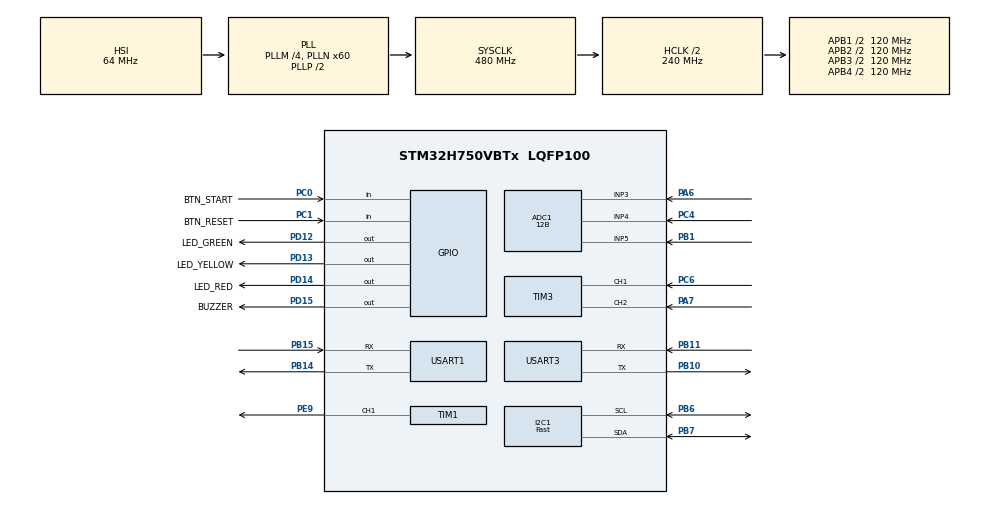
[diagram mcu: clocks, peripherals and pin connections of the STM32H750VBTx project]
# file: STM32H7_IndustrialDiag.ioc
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ADC1.Channel-0\#ChannelRegularConversion=ADC_CHANNEL_3
ADC1.ContinuousConvMode=ENABLE
ADC1.NbrOfConversionFlag=1
ADC1.OffsetNumber-0\#ChannelRegularConversion=ADC_OFFSET_NONE
ADC1.OffsetSignedSaturation-0\#ChannelRegularConversion=DISABLE
ADC1.Rank-0\#ChannelRegularConversion=1
ADC1.Resolution=ADC_RESOLUTION_12B
ADC1.SamplingTime-0\#ChannelRegularConversion=ADC_SAMPLETIME_1CYCLE_5
ADC1.master=1
CORTEX_M7.default_mode_Activation=1
Dma.ADC1.0.Direction=DMA_PERIPH_TO_MEMORY
Dma.ADC1.0.EventEnable=DISABLE
Dma.ADC1.0.FIFOMode=DMA_FIFOMODE_DISABLE
Dma.ADC1.0.Instance=DMA1_Stream0
Dma.ADC1.0.MemDataAlignment=DMA_MDATAALIGN_WORD
Dma.ADC1.0.MemInc=DMA_MINC_ENABLE
Dma.ADC1.0.Mode=DMA_CIRCULAR
Dma.ADC1.0.PeriphDataAlignment=DMA_PDATAALIGN_WORD
Dma.ADC1.0.PeriphInc=DMA_PINC_DISABLE
Dma.ADC1.0.Polarity=HAL_DMAMUX_REQ_GEN_RISING
Dma.ADC1.0.Priority=DMA_PRIORITY_LOW
Dma.ADC1.0.RequestNumber=1
Dma.ADC1.0.SignalID=NONE
Dma.ADC1.0.SyncEnable=DISABLE
Dma.ADC1.0.SyncPolarity=HAL_DMAMUX_SYNC_NO_EVENT
Dma.ADC1.0.SyncRequestNumber=1
Dma.ADC1.0.SyncSignalID=NONE
Dma.Request0=ADC1
Dma.Request1=USART1_TX
Dma.Request2=USART1_RX
Dma.USART1_RX.2.Direction=DMA_PERIPH_TO_MEMORY
Dma.USART1_RX.2.EventEnable=DISABLE
Dma.USART1_RX.2.FIFOMode=DMA_FIFOMODE_DISABLE
Dma.USART1_RX.2.Instance=DMA1_Stream2
Dma.USART1_RX.2.MemDataAlignment=DMA_MDATAALIGN_BYTE
Dma.USART1_RX.2.MemInc=DMA_MINC_ENABLE
Dma.USART1_RX.2.Mode=DMA_CIRCULAR
Dma.USART1_RX.2.PeriphDataAlignment=DMA_PDATAALIGN_BYTE
Dma.USART1_RX.2.PeriphInc=DMA_PINC_DISABLE
Dma.USART1_RX.2.Polarity=HAL_DMAMUX_REQ_GEN_RISING
Dma.USART1_RX.2.Priority=DMA_PRIORITY_LOW
Dma.USART1_RX.2.RequestNumber=1
Dma.USART1_RX.2.SignalID=NONE
Dma.USART1_RX.2.SyncEnable=DISABLE
Dma.USART1_RX.2.SyncPolarity=HAL_DMAMUX_SYNC_NO_EVENT
Dma.USART1_RX.2.SyncRequestNumber=1
Dma.USART1_RX.2.SyncSignalID=NONE
Dma.USART1_TX.1.Direction=DMA_MEMORY_TO_PERIPH
Dma.USART1_TX.1.EventEnable=DISABLE
Dma.USART1_TX.1.FIFOMode=DMA_FIFOMODE_DISABLE
Dma.USART1_TX.1.Instance=DMA1_Stream1
Dma.USART1_TX.1.MemDataAlignment=DMA_MDATAALIGN_BYTE
Dma.USART1_TX.1.MemInc=DMA_MINC_ENABLE
Dma.USART1_TX.1.Mode=DMA_NORMAL
Dma.USART1_TX.1.PeriphDataAlignment=DMA_PDATAALIGN_BYTE
Dma.USART1_TX.1.PeriphInc=DMA_PINC_DISABLE
Dma.USART1_TX.1.Polarity=HAL_DMAMUX_REQ_GEN_RISING
Dma.USART1_TX.1.Priority=DMA_PRIORITY_LOW
Dma.USART1_TX.1.RequestNumber=1
Dma.USART1_TX.1.SignalID=NONE
Dma.USART1_TX.1.SyncEnable=DISABLE
Dma.USART1_TX.1.SyncPolarity=HAL_DMAMUX_SYNC_NO_EVENT
Dma.USART1_TX.1.SyncRequestNumber=1
Dma.USART1_TX.1.SyncSignalID=NONE
FREERTOS.Tasks01=defaultTask,24,128,StartDefaultTask,Default,NULL,Dynamic,NULL,NULL
FREERTOS.configTOTAL_HEAP_SIZE=32768
I2C1.I2C_Speed_Mode=I2C_Fast
I2C1.Timing=0x00B03FDB
Mcu.Family=STM32H7
Mcu.Name=STM32H750VBTx
Mcu.Package=LQFP100
NVIC.DMA1_Stream0_IRQn=true\:5\:0\:false\:false\:true\:true\:false\:true\:true
NVIC.DMA1_Stream1_IRQn=true\:5\:0\:false\:false\:true\:true\:false\:true\:true
NVIC.DMA1_Stream2_IRQn=true\:5\:0\:false\:false\:true\:true\:false\:true\:true
NVIC.PriorityGroup=NVIC_PRIORITYGROUP_4
NVIC.USART1_IRQn=true\:5\:0\:false\:false\:true\:true\:false\:true\:true
PA6.Signal=ADCx_INP3
PA7.Signal=S_TIM3_CH2
PB1.Signal=ADCx_INP5
PB10.Mode=Asynchronous
PB10.Signal=USART3_TX
PB11.Mode=Asynchronous
PB11.Signal=USART3_RX
PB14.Mode=Asynchronous
PB14.Signal=USART1_TX
PB15.Mode=Asynchronous
PB15.Signal=USART1_RX
PB6.Mode=I2C
PB6.Signal=I2C1_SCL
PB7.Mode=I2C
PB7.Signal=I2C1_SDA
PC0.GPIO_Label=BTN_START
PC0.GPIO_PuPd=GPIO_PULLUP
PC0.Signal=GPIO_Input
PC1.GPIO_Label=BTN_RESET
PC1.GPIO_PuPd=GPIO_PULLUP
PC1.Signal=GPIO_Input
PC4.Signal=ADCx_INP4
PC6.Signal=S_TIM3_CH1
PD12.GPIO_Label=LED_GREEN
PD12.Signal=GPIO_Output
PD13.GPIO_Label=LED_YELLOW
PD13.Signal=GPIO_Output
PD14.GPIO_Label=LED_RED
PD14.Signal=GPIO_Output
PD15.GPIO_Label=BUZZER
PD15.Signal=GPIO_Output
PE9.Signal=S_TIM1_CH1
PH0-OSC_IN\ (PH0).Mode=HSE-External-Oscillator
PH0-OSC_IN\ (PH0).Signal=RCC_OSC_IN
PH1-OSC_OUT\ (PH1).Mode=HSE-External-Oscillator
PH1-OSC_OUT\ (PH1).Signal=RCC_OSC_OUT
ProjectManager.HeapSize=0x200
ProjectManager.StackSize=0x400
ProjectManager.TargetToolchain=STM32CubeIDE
RCC.ADCFreq_Value=129000000
RCC.APB1Freq_Value=120000000
RCC.APB2Freq_Value=120000000
RCC.APB3Freq_Value=120000000
RCC.APB4Freq_Value=120000000
RCC.CortexFreq_Value=480000000
RCC.D1PPRE=RCC_APB3_DIV2
RCC.D2PPRE1=RCC_APB1_DIV2
RCC.D2PPRE2=RCC_APB2_DIV2
RCC.D3PPRE=RCC_APB4_DIV2
RCC.DIVM1=4
RCC.DIVN1=60
RCC.HCLKFreq_Value=240000000
RCC.HPRE=RCC_HCLK_DIV2
RCC.HSE_VALUE=25000000
RCC.PLL2FRACN=0
RCC.PLL3FRACN=0
RCC.PLLFRACN=0
RCC.SYSCLKFreq_VALUE=480000000
RCC.SYSCLKSource=RCC_SYSCLKSOURCE_PLLCLK
RCC.USBFreq_Value=480000000
SH.ADCx_INP3.0=ADC1_INP3,IN3-Single-Ended
SH.ADCx_INP4.0=ADC1_INP4,IN4-Single-Ended
SH.ADCx_INP5.0=ADC1_INP5,IN5-Single-Ended
SH.S_TIM1_CH1.0=TIM1_CH1,PWM Generation1 CH1
SH.S_TIM3_CH1.0=TIM3_CH1,Encoder_Interface
SH.S_TIM3_CH2.0=TIM3_CH2,Encoder_Interface
TIM1.Channel-PWM\ Generation1\ CH1=TIM_CHANNEL_1
TIM1.Period=999
TIM1.Prescaler=479
TIM3.EncoderMode=TIM_ENCODERMODE_TI12
USART1.VirtualMode-Asynchronous=VM_ASYNC
USART3.VirtualMode-Asynchronous=VM_ASYNC
VP_FREERTOS_VS_CMSIS_V2.Mode=CMSIS_V2
VP_MEMORYMAP_VS_MEMORYMAP.Mode=CurAppReg
VP_TIM1_VS_ClockSourceINT.Mode=Internal
board=custom

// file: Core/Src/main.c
/* USER CODE BEGIN Header */
/**
  ******************************************************************************
  * @file           : main.c
  * @brief          : Main program body
  ******************************************************************************
  * @attention
  *
  * Copyright (c) 2026 STMicroelectronics.
  * All rights reserved.
  *
  * This software is licensed under terms that can be found in the LICENSE file
  * in the root directory of this software component.
  * If no LICENSE file comes with this software, it is provided AS-IS.
  *
  ******************************************************************************
  */
/* USER CODE END Header */
#include "main.h"
#include "cmsis_os.h"
#include "adc.h"
#include "dma.h"
#include "i2c.h"
#include "tim.h"
#include "usart.h"
#include "gpio.h"

/* USER CODE BEGIN Includes */
#include "drv_hal/dma_driver.h"
#include "drv_hal/adc_driver.h"
#include "drv_hal/i2c_driver.h"
#include "drv_hal/tim_driver.h"
#include "drv_hal/usart_driver.h"
/* USER CODE END Includes */

void SystemClock_Config(void);
static void MPU_Config(void);
void MX_FREERTOS_Init(void);

int main(void)
{

  /* MPU Configuration--------------------------------------------------------*/
  MPU_Config();

  /* MCU Configuration--------------------------------------------------------*/

  /* Reset of all peripherals, Initializes the Flash interface and the Systick. */
  HAL_Init();

  /* Configure the system clock */
  SystemClock_Config();

  /* Initialize all configured peripherals */
  MX_GPIO_Init();
  MX_DMA_Init();
  MX_ADC1_Init();
  MX_I2C1_Init();
  MX_TIM1_Init();
  MX_TIM3_Init();
  MX_USART1_UART_Init();
  MX_USART3_UART_Init();
  /* USER CODE BEGIN 2 */
  DMA_Manager_Init();
  ADC_Driver_Init();
  I2C_Driver_Init();
  TIM_Manager_Init();
  USART_Drivers_Init();
  /* USER CODE END 2 */

  /* Init scheduler */
  osKernelInitialize();  /* Call init function for freertos objects (in cmsis_os2.c) */
  MX_FREERTOS_Init();

  /* Start scheduler */
  osKernelStart();

  /* We should never get here as control is now taken by the scheduler */

  /* Infinite loop */
  while (1)
  {

  }
}

void SystemClock_Config(void)
{
  RCC_OscInitTypeDef RCC_OscInitStruct = {0};
  RCC_ClkInitTypeDef RCC_ClkInitStruct = {0};

  /** Supply configuration update enable
  */
  HAL_PWREx_ConfigSupply(PWR_LDO_SUPPLY);

  /** Configure the main internal regulator output voltage
  */
  __HAL_PWR_VOLTAGESCALING_CONFIG(PWR_REGULATOR_VOLTAGE_SCALE0);

  while(!__HAL_PWR_GET_FLAG(PWR_FLAG_VOSRDY)) {}

  /** Initializes the RCC Oscillators according to the specified parameters
  * in the RCC_OscInitTypeDef structure.
  */
  RCC_OscInitStruct.OscillatorType = RCC_OSCILLATORTYPE_HSI;
  RCC_OscInitStruct.HSIState = RCC_HSI_DIV1;
  RCC_OscInitStruct.HSICalibrationValue = RCC_HSICALIBRATION_DEFAULT;
  RCC_OscInitStruct.PLL.PLLState = RCC_PLL_ON;
  RCC_OscInitStruct.PLL.PLLSource = RCC_PLLSOURCE_HSI;
  RCC_OscInitStruct.PLL.PLLM = 4;
  RCC_OscInitStruct.PLL.PLLN = 60;
  RCC_OscInitStruct.PLL.PLLP = 2;
  RCC_OscInitStruct.PLL.PLLQ = 2;
  RCC_OscInitStruct.PLL.PLLR = 2;
  RCC_OscInitStruct.PLL.PLLRGE = RCC_PLL1VCIRANGE_3;
  RCC_OscInitStruct.PLL.PLLVCOSEL = RCC_PLL1VCOWIDE;
  RCC_OscInitStruct.PLL.PLLFRACN = 0;
  if (HAL_RCC_OscConfig(&RCC_OscInitStruct) != HAL_OK)
  {
    Error_Handler();
  }

  /** Initializes the CPU, AHB and APB buses clocks
  */
  RCC_ClkInitStruct.ClockType = RCC_CLOCKTYPE_HCLK|RCC_CLOCKTYPE_SYSCLK
                              |RCC_CLOCKTYPE_PCLK1|RCC_CLOCKTYPE_PCLK2
                              |RCC_CLOCKTYPE_D3PCLK1|RCC_CLOCKTYPE_D1PCLK1;
  RCC_ClkInitStruct.SYSCLKSource = RCC_SYSCLKSOURCE_PLLCLK;
  RCC_ClkInitStruct.SYSCLKDivider = RCC_SYSCLK_DIV1;
  RCC_ClkInitStruct.AHBCLKDivider = RCC_HCLK_DIV2;
  RCC_ClkInitStruct.APB3CLKDivider = RCC_APB3_DIV2;
  RCC_ClkInitStruct.APB1CLKDivider = RCC_APB1_DIV2;
  RCC_ClkInitStruct.APB2CLKDivider = RCC_APB2_DIV2;
  RCC_ClkInitStruct.APB4CLKDivider = RCC_APB4_DIV2;

  if (HAL_RCC_ClockConfig(&RCC_ClkInitStruct, FLASH_LATENCY_4) != HAL_OK)
  {
    Error_Handler();
  }
}

 /* MPU Configuration */

void MPU_Config(void)
{
  MPU_Region_InitTypeDef MPU_InitStruct = {0};

  /* Disables the MPU */
  HAL_MPU_Disable();

  /** Initializes and configures the Region and the memory to be protected
  */
  MPU_InitStruct.Enable = MPU_REGION_ENABLE;
  MPU_InitStruct.Number = MPU_REGION_NUMBER0;
  MPU_InitStruct.BaseAddress = 0x0;
  MPU_InitStruct.Size = MPU_REGION_SIZE_4GB;
  MPU_InitStruct.SubRegionDisable = 0x87;
  MPU_InitStruct.TypeExtField = MPU_TEX_LEVEL0;
  MPU_InitStruct.AccessPermission = MPU_REGION_NO_ACCESS;
  MPU_InitStruct.DisableExec = MPU_INSTRUCTION_ACCESS_DISABLE;
  MPU_InitStruct.IsShareable = MPU_ACCESS_SHAREABLE;
  MPU_InitStruct.IsCacheable = MPU_ACCESS_NOT_CACHEABLE;
  MPU_InitStruct.IsBufferable = MPU_ACCESS_NOT_BUFFERABLE;

  HAL_MPU_ConfigRegion(&MPU_InitStruct);
  /* Enables the MPU */
  HAL_MPU_Enable(MPU_PRIVILEGED_DEFAULT);

}

void Error_Handler(void)
{
  __disable_irq();
  while (1)
  {
  }
}

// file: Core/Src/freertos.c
/* USER CODE BEGIN Header */
/**
  ******************************************************************************
  * File Name          : freertos.c
  * Description        : Code for freertos applications
  ******************************************************************************
  * @attention
  *
  * Copyright (c) 2026 STMicroelectronics.
  * All rights reserved.
  *
  * This software is licensed under terms that can be found in the LICENSE file
  * in the root directory of this software component.
  * If no LICENSE file comes with this software, it is provided AS-IS.
  *
  ******************************************************************************
  */
/* USER CODE END Header */

#include "FreeRTOS.h"
#include "task.h"
#include "main.h"
#include "cmsis_os.h"

/* USER CODE BEGIN Includes */
#include "app_tasks.h"
#include "task_config.h"
/* USER CODE END Includes */

osThreadId_t defaultTaskHandle;
const osThreadAttr_t defaultTask_attributes = {
  .name = "defaultTask",
  .stack_size = 128 * 4,
  .priority = (osPriority_t) osPriorityNormal,
};

/* Application task handles */
osThreadId_t faultTaskHandle;
osThreadId_t sensorTaskHandle;
osThreadId_t controlTaskHandle;
osThreadId_t aiTaskHandle;
osThreadId_t hmiTaskHandle;

/* Application task attributes — mapped from task_config.h */
const osThreadAttr_t faultTask_attributes = {
  .name       = "faultTask",
  .stack_size = STACK_FAULT_PROTECT * 4,
  .priority   = (osPriority_t) TASK_PRIO_FAULT_PROTECT,
};

const osThreadAttr_t sensorTask_attributes = {
  .name       = "sensorTask",
  .stack_size = STACK_SENSOR_ACQUIRE * 4,
  .priority   = (osPriority_t) TASK_PRIO_SENSOR_ACQUIRE,
};

const osThreadAttr_t controlTask_attributes = {
  .name       = "controlTask",
  .stack_size = STACK_DEVICE_CONTROL * 4,
  .priority   = (osPriority_t) TASK_PRIO_DEVICE_CONTROL,
};

const osThreadAttr_t aiTask_attributes = {
  .name       = "aiTask",
  .stack_size = STACK_AI_INFERENCE * 4,
  .priority   = (osPriority_t) TASK_PRIO_AI_INFERENCE,
};

const osThreadAttr_t hmiTask_attributes = {
  .name       = "hmiTask",
  .stack_size = STACK_HMI_COMM * 4,
  .priority   = (osPriority_t) TASK_PRIO_HMI_COMM,
};

/* USER CODE BEGIN FunctionPrototypes */
extern void AppTasks_InitRTOSObjects(void);
/* USER CODE END FunctionPrototypes */

void StartDefaultTask(void *argument);

void MX_FREERTOS_Init(void); /* (MISRA C 2004 rule 8.1) */

void MX_FREERTOS_Init(void) {

  /* 初始化任务间通信对象 */
  AppTasks_InitRTOSObjects();

  /* Create the thread(s) */
  /* creation of defaultTask */
  defaultTaskHandle = osThreadNew(StartDefaultTask, NULL, &defaultTask_attributes);

  /* USER CODE BEGIN RTOS_THREADS */
  /* Application tasks — priorities from task_config.h */
  faultTaskHandle   = osThreadNew(StartFaultProtectTask,   NULL, &faultTask_attributes);
  sensorTaskHandle  = osThreadNew(StartSensorAcquireTask,  NULL, &sensorTask_attributes);
  controlTaskHandle = osThreadNew(StartDeviceControlTask,  NULL, &controlTask_attributes);
  aiTaskHandle      = osThreadNew(StartAIInferenceTask,    NULL, &aiTask_attributes);
  hmiTaskHandle     = osThreadNew(StartHMICommTask,        NULL, &hmiTask_attributes);
  /* USER CODE END RTOS_THREADS */

}

void StartDefaultTask(void *argument)
{
  for(;;)
  {
    osDelay(1);
  }
}
